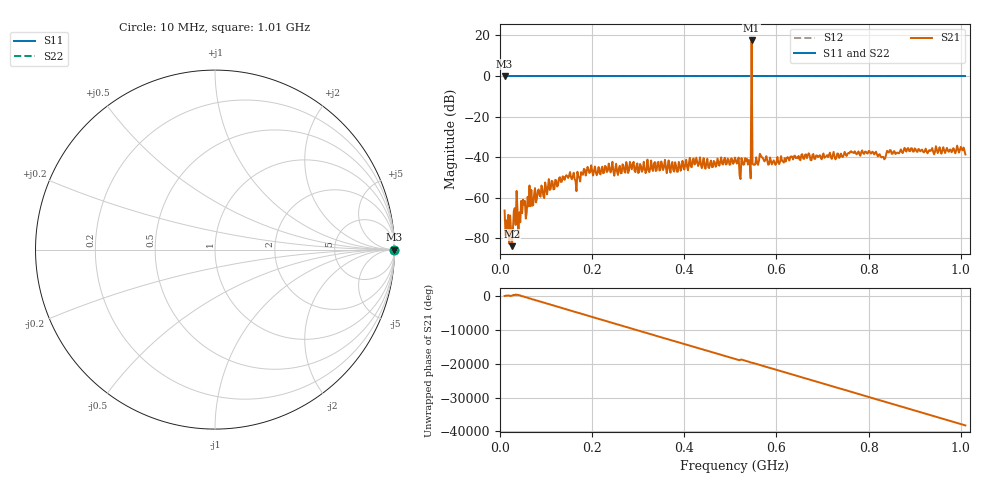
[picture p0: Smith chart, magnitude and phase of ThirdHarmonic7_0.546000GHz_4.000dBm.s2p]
! 8/17/2025 4:30:44 PM
! C:\ANRITSUVNA\TEMP\TEMP.S2P
! CHANNEL.1
! TR.MEASUREMENT
! RAW.DATA
! RF.CORRECTION.OFF
! AVERAGING.OFF
! IF.BANDWIDTH: 5KHZ
! SWEEPTYPE:  FREQ.SWEEP(Linear)
! Reference Plane Port Info
! PORT:  PORT1  PORT2
! DISTANCE:  0  m  0  m
! TIME:  0  s  0  s
! PHASE.OFFSET:  0  deg.  0  deg.
! LOSS:  0  dB  0  dB
! REF.LOSS:  0  dB  0  dB
! REF.FREQ:  0  Hz  0  Hz
! Power Info
! POWER:  -20  dBm  -20  dBm
! EFF.POWER:  -20  dBm  -20  dBm
! SOURCE.ATTEN:  0  dB  0  dB
! TEST.ATTEN:  0  dB  0  dB
# GHZ S RI R 50.0
! FREQ.GHZ  S11RE  S11IM  S21RE  S21IM  S12RE  S12IM  S22RE  S22IM
!; PortSelection: Port_12
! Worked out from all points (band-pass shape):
!   501 points, 10 MHz to 1.01 GHz, reference 50 ohm
!   highest |S21| = 17.45 dB at 546 MHz (marker M1); lowest = -83.8 dB at 26 MHz (marker M2)
!   |S21| within 3 dB of the highest: 545.9116 MHz to 546.0989 MHz (187.3 kHz wide, 0.0343 % of centre)
!   lowest |S11| = 0.0 dB at 10 MHz (marker M3)
!   |S11| at or under -10 dB: nowhere
!   |S22| runs from 0.0 to 0.0 dB; largest |S21 - S12| = 8.4
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0.01  1 0  -0.000266 0.000407  1 0  1 0
0.016  1 0  -0.00017 -1.58e-05  1 0  1 0
0.026  1 0  -5.89e-05 -2.61e-05  1 0  1 0
0.034  1 0  -0.000213 -2.9e-05  1 0  1 0
0.044  1 0  1.61e-05 -0.000249  1 0  1 0
0.05  1 0  0.000849 -0.00032  1 0  1 0
0.058  1 0  0.00022 0.000376  1 0  1 0
0.064  1 0  -0.000815 0.00183  1 0  1 0
0.178  1 0  -0.00359 -0.00119  1 0  1 0
0.344  1 0  0.00758 -0.000972  1 0  1 0
0.51  1 0  -0.00931 -0.00285  1 0  1 0
0.54  1 0  0.00258 0.00811  1 0  1 0
0.542  1 0  0.0066 -0.00384  1 0  1 0
0.546  1 0  -7.374 1.093  1 0  1 0
0.55  1 0  0.00605 0.00258  1 0  1 0
0.552  1 0  0.00493 -0.00419  1 0  1 0
0.568  1 0  0.00893 0.00436  1 0  1 0
0.678  1 0  0.00684 -0.00894  1 0  1 0
0.798  1 0  -0.0115 0.00432  1 0  1 0
0.832  1 0  -0.00641 -0.00783  1 0  1 0
0.844  1 0  -0.00657 0.0112  1 0  1 0
1.01  1 0  0.00069 -0.0116  1 0  1 0
